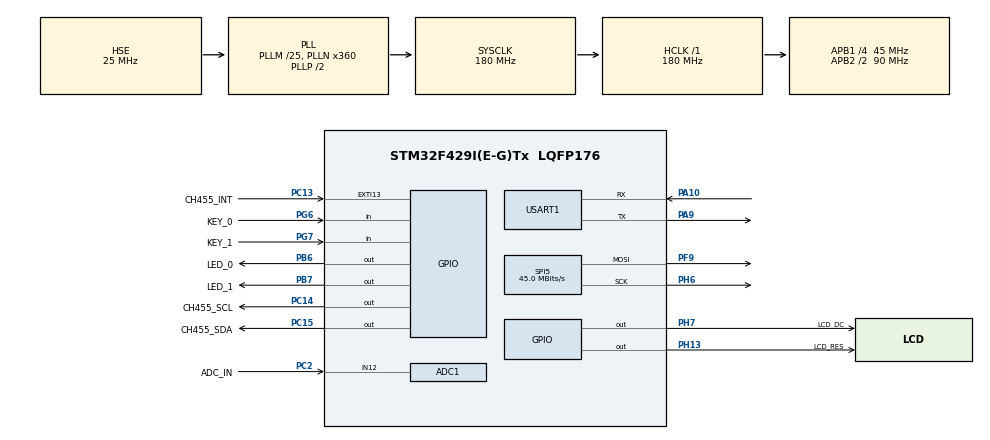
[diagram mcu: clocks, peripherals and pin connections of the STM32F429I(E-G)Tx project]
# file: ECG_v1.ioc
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ADC1.Channel-0\#ChannelRegularConversion=ADC_CHANNEL_12
ADC1.NbrOfConversionFlag=1
ADC1.Rank-0\#ChannelRegularConversion=1
ADC1.SamplingTime-0\#ChannelRegularConversion=ADC_SAMPLETIME_3CYCLES
ADC1.master=1
Dma.Request0=SPI5_TX
Dma.SPI5_TX.0.Direction=DMA_MEMORY_TO_PERIPH
Dma.SPI5_TX.0.FIFOMode=DMA_FIFOMODE_DISABLE
Dma.SPI5_TX.0.Instance=DMA2_Stream4
Dma.SPI5_TX.0.MemDataAlignment=DMA_MDATAALIGN_BYTE
Dma.SPI5_TX.0.MemInc=DMA_MINC_ENABLE
Dma.SPI5_TX.0.Mode=DMA_NORMAL
Dma.SPI5_TX.0.PeriphDataAlignment=DMA_PDATAALIGN_BYTE
Dma.SPI5_TX.0.PeriphInc=DMA_PINC_DISABLE
Dma.SPI5_TX.0.Priority=DMA_PRIORITY_VERY_HIGH
Mcu.Family=STM32F4
Mcu.Name=STM32F429I(E-G)Tx
Mcu.Package=LQFP176
NVIC.DMA2_Stream4_IRQn=true\:0\:0\:false\:false\:true\:false\:true\:true
NVIC.EXTI15_10_IRQn=true\:0\:0\:true\:false\:true\:true\:true\:true
NVIC.PriorityGroup=NVIC_PRIORITYGROUP_4
NVIC.TIM6_DAC_IRQn=true\:0\:0\:true\:false\:true\:true\:true\:true
NVIC.USART1_IRQn=true\:0\:0\:false\:false\:true\:true\:true\:true
PA10.Mode=Asynchronous
PA10.Signal=USART1_RX
PA13.Mode=Serial_Wire
PA13.Signal=SYS_JTMS-SWDIO
PA14.Mode=Serial_Wire
PA14.Signal=SYS_JTCK-SWCLK
PA9.Mode=Asynchronous
PA9.Signal=USART1_TX
PB6.GPIO_Label=LED_0
PB6.Signal=GPIO_Output
PB7.GPIO_Label=LED_1
PB7.Signal=GPIO_Output
PC13.GPIO_Label=CH455_INT
PC13.GPIO_ModeDefaultEXTI=GPIO_MODE_IT_FALLING
PC13.GPIO_PuPd=GPIO_NOPULL
PC13.Signal=GPXTI13
PC14/OSC32_IN.GPIO_Label=CH455_SCL
PC14/OSC32_IN.GPIO_ModeDefaultOutputPP=GPIO_MODE_OUTPUT_OD
PC14/OSC32_IN.GPIO_PuPd=GPIO_NOPULL
PC14/OSC32_IN.GPIO_Speed=GPIO_SPEED_FREQ_LOW
PC14/OSC32_IN.PinState=GPIO_PIN_SET
PC14/OSC32_IN.Signal=GPIO_Output
PC15/OSC32_OUT.GPIO_Label=CH455_SDA
PC15/OSC32_OUT.GPIO_ModeDefaultOutputPP=GPIO_MODE_OUTPUT_OD
PC15/OSC32_OUT.GPIO_PuPd=GPIO_NOPULL
PC15/OSC32_OUT.GPIO_Speed=GPIO_SPEED_FREQ_LOW
PC15/OSC32_OUT.PinState=GPIO_PIN_SET
PC15/OSC32_OUT.Signal=GPIO_Output
PC2.GPIO_Label=ADC_IN
PC2.Signal=ADCx_IN12
PF9.GPIO_PuPd=GPIO_PULLUP
PF9.Mode=TX_Only_Simplex_Unidirect_Master
PF9.Signal=SPI5_MOSI
PG6.GPIO_Label=KEY_0
PG6.Signal=GPIO_Input
PG7.GPIO_Label=KEY_1
PG7.Signal=GPIO_Input
PH0/OSC_IN.Mode=HSE-External-Oscillator
PH0/OSC_IN.Signal=RCC_OSC_IN
PH1/OSC_OUT.Mode=HSE-External-Oscillator
PH1/OSC_OUT.Signal=RCC_OSC_OUT
PH13.GPIO_Label=LCD_RES
PH13.GPIO_Speed=GPIO_SPEED_FREQ_VERY_HIGH
PH13.Signal=GPIO_Output
PH6.GPIO_PuPd=GPIO_PULLUP
PH6.Mode=TX_Only_Simplex_Unidirect_Master
PH6.Signal=SPI5_SCK
PH7.GPIO_Label=LCD_DC
PH7.GPIO_Speed=GPIO_SPEED_FREQ_VERY_HIGH
PH7.PinState=GPIO_PIN_SET
PH7.Signal=GPIO_Output
ProjectManager.HeapSize=0x200
ProjectManager.StackSize=0x400
ProjectManager.TargetToolchain=MDK-ARM V5.32
RCC.48MHZClocksFreq_Value=90000000
RCC.AHBFreq_Value=180000000
RCC.APB1CLKDivider=RCC_HCLK_DIV4
RCC.APB1Freq_Value=45000000
RCC.APB1TimFreq_Value=90000000
RCC.APB2CLKDivider=RCC_HCLK_DIV2
RCC.APB2Freq_Value=90000000
RCC.APB2TimFreq_Value=180000000
RCC.CortexFreq_Value=180000000
RCC.HCLKFreq_Value=180000000
RCC.HSE_VALUE=25000000
RCC.HSI_VALUE=16000000
RCC.LSE_VALUE=32768
RCC.PLLM=25
RCC.PLLN=360
RCC.PLLSourceVirtual=RCC_PLLSOURCE_HSE
RCC.SYSCLKFreq_VALUE=180000000
RCC.SYSCLKSource=RCC_SYSCLKSOURCE_PLLCLK
RCC.VCOOutputFreq_Value=360000000
SH.ADCx_IN12.0=ADC1_IN12,IN12
SPI5.BaudRatePrescaler=SPI_BAUDRATEPRESCALER_2
SPI5.CalculateBaudRate=45.0 MBits/s
SPI5.Direction=SPI_DIRECTION_2LINES
SPI5.Mode=SPI_MODE_MASTER
SPI5.VirtualType=VM_MASTER
TIM6.AutoReloadPreload=TIM_AUTORELOAD_PRELOAD_ENABLE
TIM6.Period=9000
USART1.VirtualMode=VM_ASYNC
VP_TIM6_VS_ClockSourceINT.Mode=Enable_Timer
board=custom

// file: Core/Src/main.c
/* USER CODE BEGIN Header */
/**
  ******************************************************************************
  * @file           : main.c
  * @brief          : Main program body
  ******************************************************************************
  * @attention
  *
  * Copyright (c) 2023 STMicroelectronics.
  * All rights reserved.
  *
  * This software is licensed under terms that can be found in the LICENSE file
  * in the root directory of this software component.
  * If no LICENSE file comes with this software, it is provided AS-IS.
  *
  ******************************************************************************
  */
/* USER CODE END Header */
#include "main.h"
#include "adc.h"
#include "dma.h"
#include "spi.h"
#include "tim.h"
#include "usart.h"
#include "gpio.h"

/* USER CODE BEGIN Includes */
#include <stdio.h>
#include "delay.h"
#include "Ch455h.h"
#include "Global.h"
#include "Key.h"
#include "LcdDraw.h"
#include "Time.h"
#include "SignalDraw.h"
#include "WaveOperate.h"
#include "MessageTR.h"
/* USER CODE END Includes */

void SystemClock_Config(void);

int main(void)
{
  /* USER CODE BEGIN 1 */
  uint32_t d_time = 0;
  /* USER CODE END 1 */

  /* MCU Configuration--------------------------------------------------------*/

  /* Reset of all peripherals, Initializes the Flash interface and the Systick. */
  HAL_Init();

  /* Configure the system clock */
  SystemClock_Config();

  /* Initialize all configured peripherals */
  MX_GPIO_Init();
  MX_DMA_Init();
  MX_ADC1_Init();
  MX_SPI5_Init();
  MX_TIM6_Init();
  MX_USART1_UART_Init();
  /* USER CODE BEGIN 2 */
  delay_init(180);
  CH455_Init();
  CH455_Write( CH455_DIG0 | bcd_num[0] );
  CH455_Write( CH455_DIG1 | bcd_num[0] );
  CH455_Write( CH455_DIG2 | bcd_num[0] );
  CH455_Write( CH455_DIG3 | bcd_num[0] );
  HAL_UART_Receive_IT(&huart1, (uint8_t *)&uart_res, 1);
  HAL_TIM_Base_Start_IT(&htim6);
  GJH_LCD_Init();
  GJH_Wave_Init();
  GJH_TR_Init();
  /* USER CODE END 2 */

  /* Infinite loop */
  /* USER CODE BEGIN WHILE */
  CH455_Write( CH455_DIG3 | bcd_num[10] );

  while (1)
  {

    //获取fps
    d_time = GJH_Get_D_Time();
    fps = 1000 / (d_time * BASE_TIME);
    /* USER CODE END WHILE */

    /* USER CODE BEGIN 3 */

    GJH_Buff_UI_Draw();
    //绘制fft波形
    GJH_Buff_Wave_Draw();
    if (is_fft_show)
    {
        GJH_Buff_FFT_Draw();
    }
    GJH_LCD_Show();

  }
  /* USER CODE END 3 */
}

void SystemClock_Config(void)
{
  RCC_OscInitTypeDef RCC_OscInitStruct = {0};
  RCC_ClkInitTypeDef RCC_ClkInitStruct = {0};

  /** Configure the main internal regulator output voltage
  */
  __HAL_RCC_PWR_CLK_ENABLE();
  __HAL_PWR_VOLTAGESCALING_CONFIG(PWR_REGULATOR_VOLTAGE_SCALE1);

  /** Initializes the RCC Oscillators according to the specified parameters
  * in the RCC_OscInitTypeDef structure.
  */
  RCC_OscInitStruct.OscillatorType = RCC_OSCILLATORTYPE_HSE;
  RCC_OscInitStruct.HSEState = RCC_HSE_ON;
  RCC_OscInitStruct.PLL.PLLState = RCC_PLL_ON;
  RCC_OscInitStruct.PLL.PLLSource = RCC_PLLSOURCE_HSE;
  RCC_OscInitStruct.PLL.PLLM = 25;
  RCC_OscInitStruct.PLL.PLLN = 360;
  RCC_OscInitStruct.PLL.PLLP = RCC_PLLP_DIV2;
  RCC_OscInitStruct.PLL.PLLQ = 4;
  if (HAL_RCC_OscConfig(&RCC_OscInitStruct) != HAL_OK)
  {
    Error_Handler();
  }

  /** Activate the Over-Drive mode
  */
  if (HAL_PWREx_EnableOverDrive() != HAL_OK)
  {
    Error_Handler();
  }

  /** Initializes the CPU, AHB and APB buses clocks
  */
  RCC_ClkInitStruct.ClockType = RCC_CLOCKTYPE_HCLK|RCC_CLOCKTYPE_SYSCLK
                              |RCC_CLOCKTYPE_PCLK1|RCC_CLOCKTYPE_PCLK2;
  RCC_ClkInitStruct.SYSCLKSource = RCC_SYSCLKSOURCE_PLLCLK;
  RCC_ClkInitStruct.AHBCLKDivider = RCC_SYSCLK_DIV1;
  RCC_ClkInitStruct.APB1CLKDivider = RCC_HCLK_DIV4;
  RCC_ClkInitStruct.APB2CLKDivider = RCC_HCLK_DIV2;

  if (HAL_RCC_ClockConfig(&RCC_ClkInitStruct, FLASH_LATENCY_5) != HAL_OK)
  {
    Error_Handler();
  }
}

/* USER CODE BEGIN 4 */

//GPIO中断
void HAL_GPIO_EXTI_Callback(uint16_t GPIO_Pin)
{
    //CH455H检测到按钮按下
	if (GPIO_Pin == CH455_INT_Pin)
    {
        switch(CH455_Read())
        {
            case 0x44:
                GJH_Key_On(1);
                break;
            case 0x45:
                GJH_Key_On(2);
                break;
            case 0x46:
                GJH_Key_On(3);
                break;
            case 0x47:
                GJH_Key_On(4);
                break;
            case 0x4C:
                GJH_Key_On(5);
                break;
            case 0x4D:
                GJH_Key_On(6);
                break;
            case 0x4E:
                GJH_Key_On(7);
                break;
            case 0x4F:
                GJH_Key_On(8);
                break;
            case 0x54:
                GJH_Key_On(9);
                break;
            case 0x55:
                GJH_Key_On(10);
                break;
            case 0x56:
                GJH_Key_On(11);
                break;
            case 0x57:
                GJH_Key_On(12);
                break;
            case 0x5C:
                GJH_Key_On(13);
                break;
            case 0x5D:
                GJH_Key_On(14);
                break;
            case 0x5E:
                GJH_Key_On(15);
                break;
            case 0x5F:
                GJH_Key_On(16);
                break;
            default:
                GJH_Key_On(0);
                break;
        }
        CH455_Write( CH455_SYSON );         //抗干扰，刷新CH455寄存器

	}
}

void HAL_UART_RxCpltCallback(UART_HandleTypeDef *huart)
{
    UNUSED(huart);
    if (huart->Instance == USART1)
    {
        uart_rx_last_time = GJH_Get_Time();
        uart_rx_buff[uart_rx_counter++] = uart_res;
        HAL_UART_Receive_IT(&huart1, (uint8_t *)&uart_res, 1);
    }
}
/* USER CODE END 4 */

void Error_Handler(void)
{
  __disable_irq();
  while (1)
  {
  }
}
